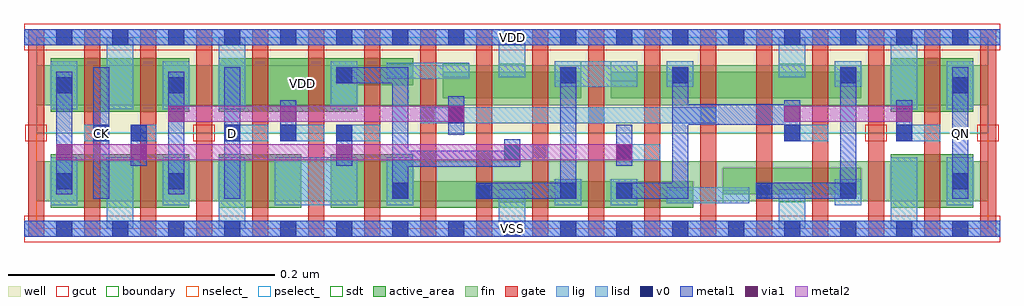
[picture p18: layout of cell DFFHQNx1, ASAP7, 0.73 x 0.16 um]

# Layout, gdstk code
import gdstk
lib = gdstk.Library(unit=1e-6, precision=2.5e-10)
def R(c, l, rs):  # rectangles x0, y0, x1, y1
    for r in rs: c.add(gdstk.rectangle(r[:2], r[2:], *l))
def A(c, l, x, y, w, h, nx, ny, dx, dy):  # array of equal rectangles
    R(c, l, [(x+i*dx, y+j*dy, x+i*dx+w, y+j*dy+h) for i in range(nx) for j in range(ny)])
def P(c, l, *ps):  # polygons
    for p in ps: c.add(gdstk.Polygon(p, *l))
well = (1, 0)
fin = (2, 0)
gate = (7, 0)
gcut = (10, 0)
active_area = (11, 0)
nselect_ = (12, 0)
pselect_ = (13, 0)
lig = (16, 0)
lisd = (17, 0)
v0 = (18, 0)
metal1 = (19, 0)
metal2 = (20, 0)
via1 = (21, 0)
sdt = (88, 0)
boundary = (100, 0)

dffhqnx1 = lib.new_cell('DFFHQNx1')
R(dffhqnx1, well, [(0,0.072,0.714,0.144)])
R(dffhqnx1, fin, [(0,0.021,0.714,0.051), (0,0.093,0.714,0.123)])
A(dffhqnx1, gate, -0.006, -0.006, 0.012, 0.156, 18, 1, 0.042, 0)
R(dffhqnx1, gcut, [(-0.009,-0.01,0.723,0.01), (-0.008,0.066,0.008,0.078), (0.118,0.066,0.134,0.078), (0.622,0.066,0.638,0.078), (0.706,0.066,0.722,0.078), (-0.009,0.134,0.723,0.154)])
R(dffhqnx1, active_area, [(0.011,0.016,0.115,0.056), (0.137,0.016,0.199,0.056), (0.641,0.016,0.703,0.056), (0.515,0.026,0.619,0.046), (0.011,0.088,0.115,0.128), (0.641,0.088,0.703,0.128), (0.305,0.098,0.409,0.118), (0.431,0.098,0.619,0.118)])
P(dffhqnx1, active_area, [(0.241,0.108),(0.283,0.108),(0.283,0.128),(0.137,0.128),(0.137,0.088),(0.241,0.088)],
  [(0.493,0.036),(0.283,0.036),(0.283,0.056),(0.221,0.056),(0.221,0.016),(0.493,0.016)])
R(dffhqnx1, nselect_, [(0,0,0.714,0.072)])
R(dffhqnx1, pselect_, [(0,0.072,0.714,0.144)])
A(dffhqnx1, lig, 0.141, 0.066, 0.033, 0.012, 3, 1, 0.042, 0)
R(dffhqnx1, lig, [(-0.009,-0.006,0.723,0.006), (0.33,0.0227,0.342,0.0348), (0.54,0.0227,0.552,0.0348), (0.351,0.0515,0.384,0.0635), (0.435,0.0515,0.468,0.0635), (0.036,0.066,0.055,0.078), (0.071,0.066,0.09,0.078), (0.561,0.066,0.594,0.078), (0.645,0.066,0.678,0.078), (0.288,0.0793,0.3,0.0912), (0.414,0.0793,0.426,0.0912), (0.498,0.0793,0.51,0.0912), (-0.009,0.138,0.723,0.15)])
R(dffhqnx1, lisd, [(0.053,0,0.073,0.054), (0.137,0,0.157,0.054), (0.347,0,0.367,0.03), (0.557,0,0.577,0.03), (0.641,0,0.661,0.054), (0.011,0.018,0.031,0.054), (0.095,0.018,0.115,0.054), (0.179,0.018,0.241,0.054), (0.263,0.018,0.283,0.054), (0.389,0.018,0.409,0.0372), (0.431,0.018,0.451,0.0372), (0.599,0.018,0.619,0.0372), (0.683,0.018,0.703,0.054), (0.473,0.0192,0.535,0.0312), (0.288,0.0793,0.51,0.0912), (0.011,0.09,0.031,0.126), (0.053,0.09,0.073,0.144), (0.095,0.09,0.115,0.126), (0.137,0.09,0.157,0.144), (0.221,0.09,0.241,0.126), (0.641,0.09,0.661,0.144), (0.683,0.09,0.703,0.126), (0.389,0.1067,0.451,0.126), (0.473,0.1067,0.493,0.126), (0.599,0.1067,0.619,0.126), (0.263,0.1128,0.325,0.1247), (0.347,0.114,0.367,0.144), (0.557,0.114,0.577,0.144)])
A(dffhqnx1, v0, 0.015, -0.006, 0.012, 0.012, 17, 2, 0.042, 0.144)
A(dffhqnx1, v0, 0.267, 0.0227, 0.012, 0.012, 3, 1, 0.063, 0)
A(dffhqnx1, v0, 0.141, 0.066, 0.012, 0.012, 3, 1, 0.042, 0)
R(dffhqnx1, v0, [(0.435,0.0227,0.447,0.0348), (0.54,0.0227,0.552,0.0348), (0.603,0.0227,0.615,0.0348), (0.015,0.03,0.027,0.042), (0.099,0.03,0.111,0.042), (0.687,0.03,0.699,0.042), (0.351,0.0515,0.363,0.0635), (0.435,0.0515,0.447,0.0635), (0.043,0.066,0.055,0.078), (0.071,0.066,0.083,0.078), (0.561,0.066,0.573,0.078), (0.645,0.066,0.657,0.078), (0.309,0.0793,0.321,0.0912), (0.015,0.102,0.027,0.114), (0.099,0.102,0.111,0.114), (0.687,0.102,0.699,0.114), (0.225,0.1092,0.237,0.1212), (0.393,0.1092,0.405,0.1212), (0.477,0.1092,0.489,0.1212), (0.603,0.1092,0.615,0.1212)])
R(dffhqnx1, metal1, [(-0.009,-0.006,0.723,0.006), (0.043,0.0227,0.055,0.1212), (0.141,0.0227,0.153,0.1212), (0.687,0.0227,0.699,0.1212), (0.015,0.026,0.027,0.118), (0.099,0.026,0.111,0.118), (0.071,0.0475,0.083,0.078), (0.225,0.0475,0.237,0.078), (0.435,0.0475,0.447,0.078), (0.183,0.066,0.195,0.0965), (0.645,0.066,0.657,0.0965), (0.309,0.0708,0.321,0.0995), (-0.009,0.138,0.723,0.15)])
P(dffhqnx1, metal1, [(0.489,0.078),(0.561,0.078),(0.561,0.066),(0.573,0.066),(0.573,0.0965),(0.561,0.0965),(0.561,0.0935),(0.489,0.0935),(0.489,0.1212),(0.477,0.1212),(0.477,0.0348),(0.435,0.0348),(0.435,0.0227),(0.489,0.0227)],
  [(0.615,0.1212),(0.603,0.1212),(0.603,0.0348),(0.54,0.0348),(0.54,0.0227),(0.615,0.0227)],
  [(0.405,0.1212),(0.393,0.1212),(0.393,0.0348),(0.33,0.0348),(0.33,0.0227),(0.405,0.0227)],
  [(0.351,0.0675),(0.351,0.0588),(0.279,0.0588),(0.279,0.1212),(0.225,0.1212),(0.225,0.1092),(0.267,0.1092),(0.267,0.0227),(0.279,0.0227),(0.279,0.0467),(0.363,0.0467),(0.363,0.0675)])
R(dffhqnx1, metal2, [(0.015,0.0515,0.447,0.0635), (0.099,0.0805,0.321,0.0925), (0.561,0.0805,0.657,0.0925)])
R(dffhqnx1, via1, [(0.015,0.0515,0.027,0.0635), (0.071,0.0515,0.083,0.0635), (0.225,0.0515,0.237,0.0635), (0.435,0.0515,0.447,0.0635), (0.099,0.0805,0.111,0.0925), (0.183,0.0805,0.195,0.0925), (0.309,0.0805,0.321,0.0925), (0.561,0.0805,0.573,0.0925), (0.645,0.0805,0.657,0.0925)])
A(dffhqnx1, sdt, 0.011, 0.021, 0.02, 0.03, 7, 1, 0.042, 0)
A(dffhqnx1, sdt, 0.011, 0.093, 0.02, 0.03, 4, 1, 0.042, 0)
A(dffhqnx1, sdt, 0.389, 0.111, 0.02, 0.015, 3, 1, 0.042, 0)
A(dffhqnx1, sdt, 0.263, 0.114, 0.02, 0.01, 3, 1, 0.042, 0)
R(dffhqnx1, sdt, [(0.389,0.018,0.409,0.036), (0.431,0.018,0.451,0.036), (0.599,0.018,0.619,0.036), (0.473,0.0192,0.493,0.0293), (0.515,0.0192,0.535,0.0293), (0.347,0.02,0.367,0.03), (0.557,0.02,0.577,0.03), (0.641,0.021,0.661,0.051), (0.683,0.021,0.703,0.051), (0.221,0.093,0.241,0.123), (0.641,0.093,0.661,0.123), (0.683,0.093,0.703,0.123), (0.599,0.111,0.619,0.126), (0.557,0.114,0.577,0.124)])
R(dffhqnx1, boundary, [(0,0,0.714,0.144)])
dffhqnx1.add(gdstk.Label('VDD', (0.2,0.1092), layer=1, texttype=251))
dffhqnx1.add(gdstk.Label('VSS', (0.751,0.0505), layer=3, texttype=251))
dffhqnx1.add(gdstk.Label('VDD', (0.357,0.144), layer=19, texttype=251))
dffhqnx1.add(gdstk.Label('D', (0.147,0.072), layer=19, texttype=251))
dffhqnx1.add(gdstk.Label('CK', (0.049,0.072), layer=19, texttype=251))
dffhqnx1.add(gdstk.Label('QN', (0.693,0.072), layer=19, texttype=251))
dffhqnx1.add(gdstk.Label('VSS', (0.357,0), layer=19, texttype=251))
dffhqnx1.add(gdstk.Label('VDD', (0.357,0.144), layer=19, texttype=251))
dffhqnx1.add(gdstk.Label('VSS', (0.357,0), layer=19, texttype=251))
dffhqnx1.add(gdstk.Label('QN', (0.693,0.072), layer=19, texttype=251))
dffhqnx1.add(gdstk.Label('CK', (0.049,0.072), layer=19, texttype=251))
dffhqnx1.add(gdstk.Label('D', (0.147,0.072), layer=19, texttype=251))

lib.write_gds('DFFHQNx1.gds')
